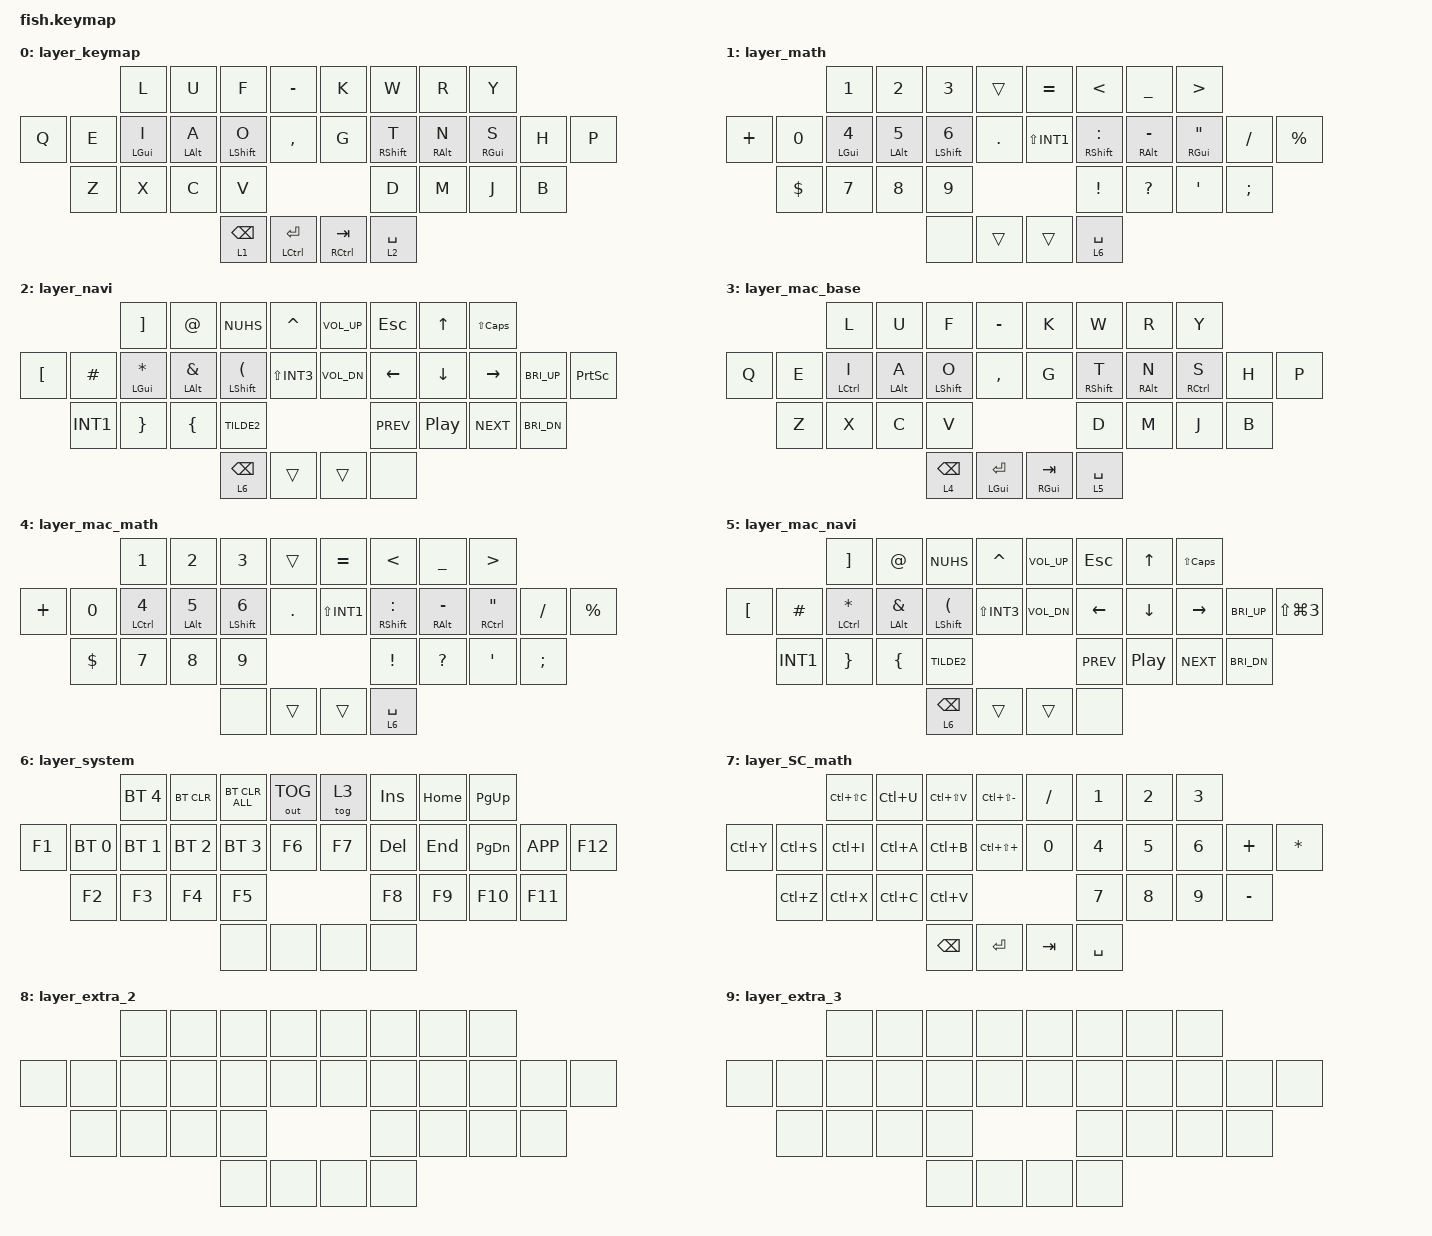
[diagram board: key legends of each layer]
// キーマップを更新する方法は https://o24.works/fish/guide を参照
// 視覚的に編集するには https://o24.works/fish/editor を参照


// 定義を呼んでくる
#include <behaviors.dtsi>
#include <dt-bindings/zmk/keys.h>
#include <dt-bindings/zmk/mouse.h>
#include <dt-bindings/zmk/bt.h>
#include <dt-bindings/zmk/outputs.h>
#include <dt-bindings/zmk/pointing.h>


// 特殊入力の挙動を調整できる

&mt {
    flavor = "tap-preferred";
    tapping-term-ms = <225>;
    quick-tap-ms = <200>;
    require-prior-idle-ms = <150>;
};

&lt {
    flavor = "balanced";
    tapping-term-ms = <175>;
    quick-tap-ms = <200>;
};

&sk {
};

&sl {
};

&caps_word {
};

&key_repeat {
};


/ {
    // 独自の入力を定義できる（上級者向け）

    behaviors {
    };

    macros {
    };

    conditional_layers {
    };


    // 複数キーの同時押しに特別の入力を設定できる
    // キー番号早見表：
    //       0  1  2  3     4  5  6  7
    // 8  9 10 11 12 13    14 15 16 17 18 19
    //   20 21 22 23          24 25 26 27
    //            28 29    30 31

    combos {
        compatible = "zmk,combos";
        timeout-ms = <100>;
        require-prior-idle-ms = <150>;

        combo_lang2 {
            key-positions = <11 12>;
            bindings = <&kp LANG2>;
        };

        combo_lang1 {
            key-positions = <15 16>;
            bindings = <&kp LANG1>;
        };

        combo_reset_L {
            key-positions = <3 8 13>;
            bindings = <&bootloader>;
        };

        combo_reset_R {
            key-positions = <4 14 19>;
            bindings = <&bootloader>;
        };

        combo_studio_unlock {
            key-positions = <20 21 22 23>;
            bindings = <&studio_unlock>;
        };

        combo_tog_7 {
            key-positions = <3 13>;
            bindings = <&tog 7>;
        };
    };
    

    // キーに入力を割り当てる
    // 型（&...）は https://zmk.dev/docs/behaviors/... を参照
    // キーコードは https://zmk.dev/docs/codes/... を参照

    keymap {
        compatible = "zmk,keymap";

        layer_keymap {
            bindings = <
                        &kp L       &kp U       &kp F       &kp MINUS           &kp K       &kp W       &kp R       &kp Y       
&kp Q       &kp E       &mt LGUI I  &mt LALT A  &mt LSHFT O &kp COMMA           &kp G       &mt RSHFT T &mt RALT N  &mt RGUI S  &kp H       &kp P       
            &kp Z       &kp X       &kp C       &kp V                                       &kp D       &kp M       &kp J       &kp B       
                                                &lt 1 BSPC  &mt LCTRL RET       &mt RCTRL TAB &lt 2 SPACE 
            >;
        };

        layer_math {
            bindings = <
                        &kp N1      &kp N2      &kp N3      &trans              &kp EQUAL   &kp LT      &kp UNDER   &kp GT      
&kp PLUS    &kp N0      &mt LGUI N4 &mt LALT N5 &mt LSHFT N6 &kp DOT            &kp LS(INT1) &mt RSHFT COLON &mt RALT MINUS &mt RGUI DQT &kp FSLH &kp PRCNT 
            &kp DLLR    &kp N7      &kp N8      &kp N9                                      &kp EXCL    &kp QMARK   &kp SQT     &kp SEMI    
                                                &none       &trans              &trans      &lt 6 SPACE 
            >;
        };

        layer_navi {
            bindings = <
                        &kp RBKT    &kp AT      &kp NUHS    &kp CARET           &kp C_VOL_UP &kp ESC    &kp UP      &kp LS(CAPS) 
&kp LBKT    &kp HASH    &mt LGUI STAR &mt LALT AMPS &mt LSHFT LPAR &kp LS(INT3) &kp C_VOL_DN &kp LEFT   &kp DOWN    &kp RIGHT   &kp C_BRI_UP &kp PSCRN  
            &kp INT1    &kp RBRC    &kp LBRC    &kp TILDE2                                  &kp C_PREV  &kp C_PP    &kp C_NEXT  &kp C_BRI_DN 
                                                &lt 6 BSPC  &trans              &trans      &none       
            >;
        };

        layer_mac_base {
            bindings = <
                        &kp L       &kp U       &kp F       &kp MINUS           &kp K       &kp W       &kp R       &kp Y       
&kp Q       &kp E       &mt LCTRL I &mt LALT A  &mt LSHFT O &kp COMMA           &kp G       &mt RSHFT T &mt RALT N  &mt RCTRL S &kp H       &kp P       
            &kp Z       &kp X       &kp C       &kp V                                       &kp D       &kp M       &kp J       &kp B       
                                                &lt 4 BSPC  &mt LGUI RET        &mt RGUI TAB &lt 5 SPACE 
            >;
        };

        layer_mac_math {
            bindings = <
                        &kp N1      &kp N2      &kp N3      &trans              &kp EQUAL   &kp LT      &kp UNDER   &kp GT      
&kp PLUS    &kp N0      &mt LCTRL N4 &mt LALT N5 &mt LSHFT N6 &kp DOT           &kp LS(INT1) &mt RSHFT COLON &mt RALT MINUS &mt RCTRL DQT &kp FSLH &kp PRCNT 
            &kp DLLR    &kp N7      &kp N8      &kp N9                                      &kp EXCL    &kp QMARK   &kp SQT     &kp SEMI    
                                                &none       &trans              &trans      &lt 6 SPACE 
            >;
        };

        layer_mac_navi {
            bindings = <
                        &kp RBKT    &kp AT      &kp NUHS    &kp CARET           &kp C_VOL_UP &kp ESC    &kp UP      &kp LS(CAPS) 
&kp LBKT    &kp HASH    &mt LCTRL STAR &mt LALT AMPS &mt LSHFT LPAR &kp LS(INT3) &kp C_VOL_DN &kp LEFT  &kp DOWN    &kp RIGHT   &kp C_BRI_UP &kp LS(LG(N3)) 
            &kp INT1    &kp RBRC    &kp LBRC    &kp TILDE2                                  &kp C_PREV  &kp C_PP    &kp C_NEXT  &kp C_BRI_DN 
                                                &lt 6 BSPC  &trans              &trans      &none       
            >;
        };

        layer_system {
            bindings = <
                        &bt BT_SEL 4 &bt BT_CLR &bt BT_CLR_ALL &out OUT_TOG     &tog 3      &kp INS     &kp HOME    &kp PG_UP   
&kp F1      &bt BT_SEL 0 &bt BT_SEL 1 &bt BT_SEL 2 &bt BT_SEL 3 &kp F6          &kp F7      &kp DEL     &kp END     &kp PG_DN   &kp K_APP   &kp F12     
            &kp F2      &kp F3      &kp F4      &kp F5                                      &kp F8      &kp F9      &kp F10     &kp F11     
                                                &none       &none               &none       &none       
            >;
        };

        layer_SC_math {
            bindings = <
                        &kp LC(LS(C)) &kp LC(U) &kp LC(LS(V)) &kp LC(LS(MINUS)) &kp FSLH    &kp N1      &kp N2      &kp N3      
&kp LC(Y)   &kp LC(S)   &kp LC(I)   &kp LC(A)   &kp LC(B)   &kp LC(LS(PLUS))    &kp N0      &kp N4      &kp N5      &kp N6      &kp PLUS    &kp STAR    
            &kp LC(Z)   &kp LC(X)   &kp LC(C)   &kp LC(V)                                   &kp N7      &kp N8      &kp N9      &kp MINUS   
                                                &kp BSPC    &kp RET             &kp TAB     &kp SPACE   
            >;
        };

        layer_extra_2 {
            bindings = <
                        &none       &none       &none       &none               &none       &none       &none       &none       
&none       &none       &none       &none       &none       &none               &none       &none       &none       &none       &none       &none       
            &none       &none       &none       &none                                       &none       &none       &none       &none       
                                                &none       &none               &none       &none       
            >;
        };

        layer_extra_3 {
            bindings = <
                        &none       &none       &none       &none               &none       &none       &none       &none       
&none       &none       &none       &none       &none       &none               &none       &none       &none       &none       &none       &none       
            &none       &none       &none       &none                                       &none       &none       &none       &none       
                                                &none       &none               &none       &none       
            >;
        };
    };
};
